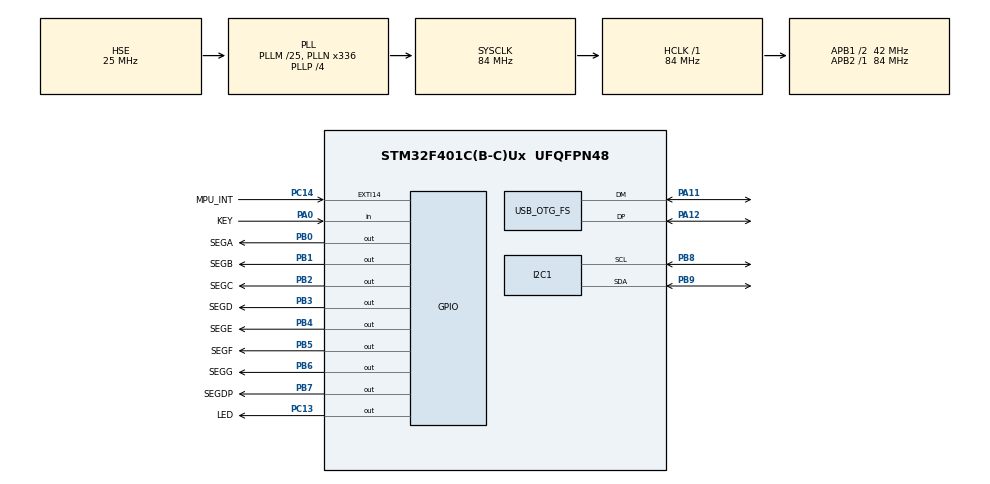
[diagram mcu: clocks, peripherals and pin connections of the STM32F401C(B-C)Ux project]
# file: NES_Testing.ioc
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Mcu.Family=STM32F4
Mcu.Name=STM32F401C(B-C)Ux
Mcu.Package=UFQFPN48
NVIC.EXTI15_10_IRQn=true\:0\:0\:false\:false\:true\:true\:true\:true
NVIC.OTG_FS_IRQn=true\:0\:0\:false\:false\:true\:false\:true\:true
NVIC.PriorityGroup=NVIC_PRIORITYGROUP_4
PA0-WKUP.GPIO_Label=KEY
PA0-WKUP.Signal=GPIO_Input
PA11.Mode=Device_Only
PA11.Signal=USB_OTG_FS_DM
PA12.Mode=Device_Only
PA12.Signal=USB_OTG_FS_DP
PA13.Mode=Serial_Wire
PA13.Signal=SYS_JTMS-SWDIO
PA14.Mode=Serial_Wire
PA14.Signal=SYS_JTCK-SWCLK
PB0.GPIO_Label=SEGA
PB0.Signal=GPIO_Output
PB1.GPIO_Label=SEGB
PB1.Signal=GPIO_Output
PB2.GPIO_Label=SEGC
PB2.Signal=GPIO_Output
PB3.GPIO_Label=SEGD
PB3.Signal=GPIO_Output
PB4.GPIO_Label=SEGE
PB4.Signal=GPIO_Output
PB5.GPIO_Label=SEGF
PB5.Signal=GPIO_Output
PB6.GPIO_Label=SEGG
PB6.Signal=GPIO_Output
PB7.GPIO_Label=SEGDP
PB7.Signal=GPIO_Output
PB8.Mode=I2C
PB8.Signal=I2C1_SCL
PB9.Mode=I2C
PB9.Signal=I2C1_SDA
PC13-ANTI_TAMP.GPIO_Label=LED
PC13-ANTI_TAMP.Signal=GPIO_Output
PC14-OSC32_IN.GPIO_Label=MPU_INT
PC14-OSC32_IN.GPIO_ModeDefaultEXTI=GPIO_MODE_IT_RISING
PC14-OSC32_IN.GPIO_PuPd=GPIO_PULLDOWN
PC14-OSC32_IN.Signal=GPXTI14
PH0\ -\ OSC_IN.Mode=HSE-External-Oscillator
PH0\ -\ OSC_IN.Signal=RCC_OSC_IN
PH1\ -\ OSC_OUT.Mode=HSE-External-Oscillator
PH1\ -\ OSC_OUT.Signal=RCC_OSC_OUT
ProjectManager.HeapSize=0x200
ProjectManager.StackSize=0x400
ProjectManager.TargetToolchain=STM32CubeIDE
RCC.48MHZClocksFreq_Value=48000000
RCC.AHBFreq_Value=84000000
RCC.APB1CLKDivider=RCC_HCLK_DIV2
RCC.APB1Freq_Value=42000000
RCC.APB1TimFreq_Value=84000000
RCC.APB2Freq_Value=84000000
RCC.APB2TimFreq_Value=84000000
RCC.CortexFreq_Value=84000000
RCC.HCLKFreq_Value=84000000
RCC.HSE_VALUE=25000000
RCC.HSI_VALUE=16000000
RCC.LSE_VALUE=32768
RCC.PLLM=25
RCC.PLLN=336
RCC.PLLP=RCC_PLLP_DIV4
RCC.PLLQ=7
RCC.PLLSourceVirtual=RCC_PLLSOURCE_HSE
RCC.SYSCLKFreq_VALUE=84000000
RCC.SYSCLKSource=RCC_SYSCLKSOURCE_PLLCLK
RCC.VCOOutputFreq_Value=336000000
TIM2.Channel-Output\ Compare1\ No\ Output=TIM_CHANNEL_1
TIM2.Prescaler=8400
USB_DEVICE.CLASS_NAME_FS=CDC
USB_DEVICE.VirtualMode=Cdc
USB_DEVICE.VirtualModeFS=Cdc_FS
USB_OTG_FS.VirtualMode=Device_Only
VP_TIM2_VS_no_output1.Mode=Output Compare1 No Output
VP_USB_DEVICE_VS_USB_DEVICE_CDC_FS.Mode=CDC_FS
board=custom

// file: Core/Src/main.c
/* USER CODE BEGIN Header */
/**
 ******************************************************************************
 * @file           : main.c
 * @brief          : Main program body
 ******************************************************************************
 * @attention
 *
 * Copyright (c) 2024 STMicroelectronics.
 * All rights reserved.
 *
 * This software is licensed under terms that can be found in the LICENSE file
 * in the root directory of this software component.
 * If no LICENSE file comes with this software, it is provided AS-IS.
 *
 ******************************************************************************
 */
 /* USER CODE END Header */
 /* Includes ------------------------------------------------------------------*/
#include "main.h"
#include "usb_device.h"

/* USER CODE BEGIN Includes */
#include "mpu6050.h"
#include "usbd_cdc_if.h"
/* USER CODE END Includes */

/* USER CODE BEGIN PD */
#define SEG_NUM_MASK (SEGA_Pin | SEGB_Pin | SEGC_Pin | SEGD_Pin | SEGE_Pin | SEGF_Pin | SEGG_Pin)
#define SEG_DP_MASK  (SEGDP_Pin)
#define SEG_MAX_NUM  (9)
#define SEG_MIN_NUM  (0)
#define SEG_N_NUMS   (SEG_MAX_NUM - SEG_MIN_NUM + 1)

#define SEG_Port GPIOB

#define THRESH 0.2

#define N_SET(y) (((y) < -THRESH) * (SEGA_Pin))
#define S_SET(y) (((y) >  THRESH) * (SEGD_Pin))
#define O_SET(x) (((x) < -THRESH) * (SEGB_Pin | SEGC_Pin))
#define W_SET(x) (((x) >  THRESH) * (SEGF_Pin | SEGE_Pin))

#define N_RST(y) (((y) < -THRESH) * (SEGE_Pin | SEGC_Pin))
#define S_RST(y) (((y) >  THRESH) * (SEGB_Pin | SEGF_Pin))
/* USER CODE END PD */

I2C_HandleTypeDef hi2c1;

TIM_HandleTypeDef htim2;

/* USER CODE BEGIN PV */
mpu6050_handle_t hmpu;

const uint16_t segments[SEG_N_NUMS] = { // Index is the displayed number
	(SEG_NUM_MASK & ~SEGG_Pin),                             // 0
	(SEGB_Pin | SEGC_Pin),                                  // 1
	(SEGA_Pin | SEGB_Pin | SEGD_Pin | SEGE_Pin | SEGG_Pin), // 2
	(SEGA_Pin | SEGB_Pin | SEGC_Pin | SEGD_Pin | SEGG_Pin), // 3
	(SEGB_Pin | SEGC_Pin | SEGF_Pin | SEGG_Pin),            // 4
	(SEGA_Pin | SEGC_Pin | SEGD_Pin | SEGF_Pin | SEGG_Pin), // 5
	(SEG_NUM_MASK & ~SEGB_Pin),                             // 6
	(SEGA_Pin | SEGB_Pin | SEGC_Pin),                       // 7
	(SEG_NUM_MASK),                                         // 8
	(SEG_NUM_MASK & ~SEGE_Pin),                             // 9
};

/* USER CODE END PV */

void SystemClock_Config(void);
static void MX_GPIO_Init(void);
static void MX_I2C1_Init(void);
static void MX_TIM2_Init(void);

/* USER CODE BEGIN 0 */
void HAL_GPIO_EXTI_Callback(uint16_t GPIO_Pin)
{
	if (GPIO_Pin == MPU_INT_Pin)
	{
		MPU6050_SetIntrFlag(hmpu);
	}
}

#define USR_SEG_WriteReg(x) MODIFY_REG(SEG_Port->ODR, SEG_NUM_MASK, x)
#define USR_SEG_WriteNum(x) USR_SEG_WriteReg(segments[x])

void USR_SEG_Direction(float_vector3_t dir)
{
	uint8_t set = N_SET(dir.y) | O_SET(dir.x) | S_SET(dir.y) | W_SET(dir.x);
	if (set == 0) // No direction
	{
		USR_SEG_WriteReg(SEGG_Pin);
	} else // Any Direction, Clear opposite E/W bits if direction is diagonal
	{
		USR_SEG_WriteReg(set & ~(N_RST(dir.y) | S_RST(dir.y)));
	}
}

/* USER CODE END 0 */

int main(void)
{

	/* MCU Configuration--------------------------------------------------------*/

	/* Reset of all peripherals, Initializes the Flash interface and the Systick. */
	HAL_Init();

	/* Configure the system clock */
	SystemClock_Config();

	/* Initialize all configured peripherals */
	MX_GPIO_Init();
	MX_I2C1_Init();
	MX_TIM2_Init();
	MX_USB_DEVICE_Init();
	/* USER CODE BEGIN 2 */
	HAL_TIM_Base_Start(&htim2);

	uint32_t usb_timer = __HAL_TIM_GET_COUNTER(&htim2);
	uint32_t display_timer = __HAL_TIM_GET_COUNTER(&htim2);

	char usb_buf[64];

	float_vector3_t data = { .x = 0, .y = 0, .z = 0 };
	mpu6050_config_t mpu_cfg = {
		.accel_range = MPU6050_ACCEL_RANGE_2G,
		.gyro_range = MPU6050_GYRO_RANGE_250DPS,
		.hi2c = &hi2c1
	};

	MPU6050_Init(&hmpu, &mpu_cfg);
	/* USER CODE END 2 */

	/* Infinite loop */
	while (1)
	{

		/* USER CODE BEGIN 3 */
		if (MPU6050_DataReady(hmpu))
		{
			data = MPU6050_ReadAcceleration(hmpu);
		}

		if (__HAL_TIM_GET_COUNTER(&htim2) - usb_timer >= 1000)
		{
			HAL_GPIO_TogglePin(SEGDP_GPIO_Port, SEGDP_Pin);
			uint8_t buf_len = snprintf(usb_buf, 64, "%.2f, %.2f, %.2f\r\n", data.x, data.y, data.z);
			CDC_Transmit_FS(usb_buf, buf_len);
			usb_timer = __HAL_TIM_GET_COUNTER(&htim2);
		}

		if (__HAL_TIM_GET_COUNTER(&htim2) - display_timer >= 100)
		{
			USR_SEG_Direction(data);
			display_timer = __HAL_TIM_GET_COUNTER(&htim2);
		}
	}
	/* USER CODE END 3 */
}

void SystemClock_Config(void)
{
	RCC_OscInitTypeDef RCC_OscInitStruct = { 0 };
	RCC_ClkInitTypeDef RCC_ClkInitStruct = { 0 };

	/** Configure the main internal regulator output voltage
	 */
	__HAL_RCC_PWR_CLK_ENABLE();
	__HAL_PWR_VOLTAGESCALING_CONFIG(PWR_REGULATOR_VOLTAGE_SCALE2);

	/** Initializes the RCC Oscillators according to the specified parameters
	 * in the RCC_OscInitTypeDef structure.
	 */
	RCC_OscInitStruct.OscillatorType = RCC_OSCILLATORTYPE_HSE;
	RCC_OscInitStruct.HSEState = RCC_HSE_ON;
	RCC_OscInitStruct.PLL.PLLState = RCC_PLL_ON;
	RCC_OscInitStruct.PLL.PLLSource = RCC_PLLSOURCE_HSE;
	RCC_OscInitStruct.PLL.PLLM = 25;
	RCC_OscInitStruct.PLL.PLLN = 336;
	RCC_OscInitStruct.PLL.PLLP = RCC_PLLP_DIV4;
	RCC_OscInitStruct.PLL.PLLQ = 7;
	if (HAL_RCC_OscConfig(&RCC_OscInitStruct) != HAL_OK)
	{
		Error_Handler();
	}

	/** Initializes the CPU, AHB and APB buses clocks
	 */
	RCC_ClkInitStruct.ClockType = RCC_CLOCKTYPE_HCLK | RCC_CLOCKTYPE_SYSCLK
		| RCC_CLOCKTYPE_PCLK1 | RCC_CLOCKTYPE_PCLK2;
	RCC_ClkInitStruct.SYSCLKSource = RCC_SYSCLKSOURCE_PLLCLK;
	RCC_ClkInitStruct.AHBCLKDivider = RCC_SYSCLK_DIV1;
	RCC_ClkInitStruct.APB1CLKDivider = RCC_HCLK_DIV2;
	RCC_ClkInitStruct.APB2CLKDivider = RCC_HCLK_DIV1;

	if (HAL_RCC_ClockConfig(&RCC_ClkInitStruct, FLASH_LATENCY_2) != HAL_OK)
	{
		Error_Handler();
	}
}

static void MX_I2C1_Init(void)
{

	hi2c1.Instance = I2C1;
	hi2c1.Init.ClockSpeed = 100000;
	hi2c1.Init.DutyCycle = I2C_DUTYCYCLE_2;
	hi2c1.Init.OwnAddress1 = 0;
	hi2c1.Init.AddressingMode = I2C_ADDRESSINGMODE_7BIT;
	hi2c1.Init.DualAddressMode = I2C_DUALADDRESS_DISABLE;
	hi2c1.Init.OwnAddress2 = 0;
	hi2c1.Init.GeneralCallMode = I2C_GENERALCALL_DISABLE;
	hi2c1.Init.NoStretchMode = I2C_NOSTRETCH_DISABLE;
	if (HAL_I2C_Init(&hi2c1) != HAL_OK)
	{
		Error_Handler();
	}

}

static void MX_TIM2_Init(void)
{

	TIM_MasterConfigTypeDef sMasterConfig = { 0 };
	TIM_OC_InitTypeDef sConfigOC = { 0 };

	htim2.Instance = TIM2;
	htim2.Init.Prescaler = 8400;
	htim2.Init.CounterMode = TIM_COUNTERMODE_UP;
	htim2.Init.Period = 4294967295;
	htim2.Init.ClockDivision = TIM_CLOCKDIVISION_DIV1;
	htim2.Init.AutoReloadPreload = TIM_AUTORELOAD_PRELOAD_DISABLE;
	if (HAL_TIM_OC_Init(&htim2) != HAL_OK)
	{
		Error_Handler();
	}
	sMasterConfig.MasterOutputTrigger = TIM_TRGO_RESET;
	sMasterConfig.MasterSlaveMode = TIM_MASTERSLAVEMODE_DISABLE;
	if (HAL_TIMEx_MasterConfigSynchronization(&htim2, &sMasterConfig)
		!= HAL_OK)
	{
		Error_Handler();
	}
	sConfigOC.OCMode = TIM_OCMODE_TIMING;
	sConfigOC.Pulse = 0;
	sConfigOC.OCPolarity = TIM_OCPOLARITY_HIGH;
	sConfigOC.OCFastMode = TIM_OCFAST_DISABLE;
	if (HAL_TIM_OC_ConfigChannel(&htim2, &sConfigOC, TIM_CHANNEL_1) != HAL_OK)
	{
		Error_Handler();
	}

}

static void MX_GPIO_Init(void)
{
	GPIO_InitTypeDef GPIO_InitStruct = { 0 };

	/* GPIO Ports Clock Enable */
	__HAL_RCC_GPIOC_CLK_ENABLE();
	__HAL_RCC_GPIOH_CLK_ENABLE();
	__HAL_RCC_GPIOA_CLK_ENABLE();
	__HAL_RCC_GPIOB_CLK_ENABLE();

	/*Configure GPIO pin Output Level */
	HAL_GPIO_WritePin(LED_GPIO_Port, LED_Pin, GPIO_PIN_RESET);

	/*Configure GPIO pin Output Level */
	HAL_GPIO_WritePin(GPIOB,
		SEGA_Pin | SEGB_Pin | SEGC_Pin | SEGD_Pin | SEGE_Pin | SEGF_Pin
		| SEGG_Pin | SEGDP_Pin, GPIO_PIN_RESET);

	/*Configure GPIO pin : LED_Pin */
	GPIO_InitStruct.Pin = LED_Pin;
	GPIO_InitStruct.Mode = GPIO_MODE_OUTPUT_PP;
	GPIO_InitStruct.Pull = GPIO_NOPULL;
	GPIO_InitStruct.Speed = GPIO_SPEED_FREQ_LOW;
	HAL_GPIO_Init(LED_GPIO_Port, &GPIO_InitStruct);

	/*Configure GPIO pin : MPU_INT_Pin */
	GPIO_InitStruct.Pin = MPU_INT_Pin;
	GPIO_InitStruct.Mode = GPIO_MODE_IT_RISING;
	GPIO_InitStruct.Pull = GPIO_PULLDOWN;
	HAL_GPIO_Init(MPU_INT_GPIO_Port, &GPIO_InitStruct);

	/*Configure GPIO pin : KEY_Pin */
	GPIO_InitStruct.Pin = KEY_Pin;
	GPIO_InitStruct.Mode = GPIO_MODE_INPUT;
	GPIO_InitStruct.Pull = GPIO_NOPULL;
	HAL_GPIO_Init(KEY_GPIO_Port, &GPIO_InitStruct);

	/*Configure GPIO pins : SEGA_Pin SEGB_Pin SEGC_Pin SEGD_Pin
	 SEGE_Pin SEGF_Pin SEGG_Pin SEGDP_Pin */
	GPIO_InitStruct.Pin = SEGA_Pin | SEGB_Pin | SEGC_Pin | SEGD_Pin | SEGE_Pin
		| SEGF_Pin | SEGG_Pin | SEGDP_Pin;
	GPIO_InitStruct.Mode = GPIO_MODE_OUTPUT_PP;
	GPIO_InitStruct.Pull = GPIO_NOPULL;
	GPIO_InitStruct.Speed = GPIO_SPEED_FREQ_LOW;
	HAL_GPIO_Init(GPIOB, &GPIO_InitStruct);

	/* EXTI interrupt init*/
	HAL_NVIC_SetPriority(EXTI15_10_IRQn, 0, 0);
	HAL_NVIC_EnableIRQ(EXTI15_10_IRQn);

}

void Error_Handler(void)
{
	__disable_irq();
	while (1)
	{
	}
}
